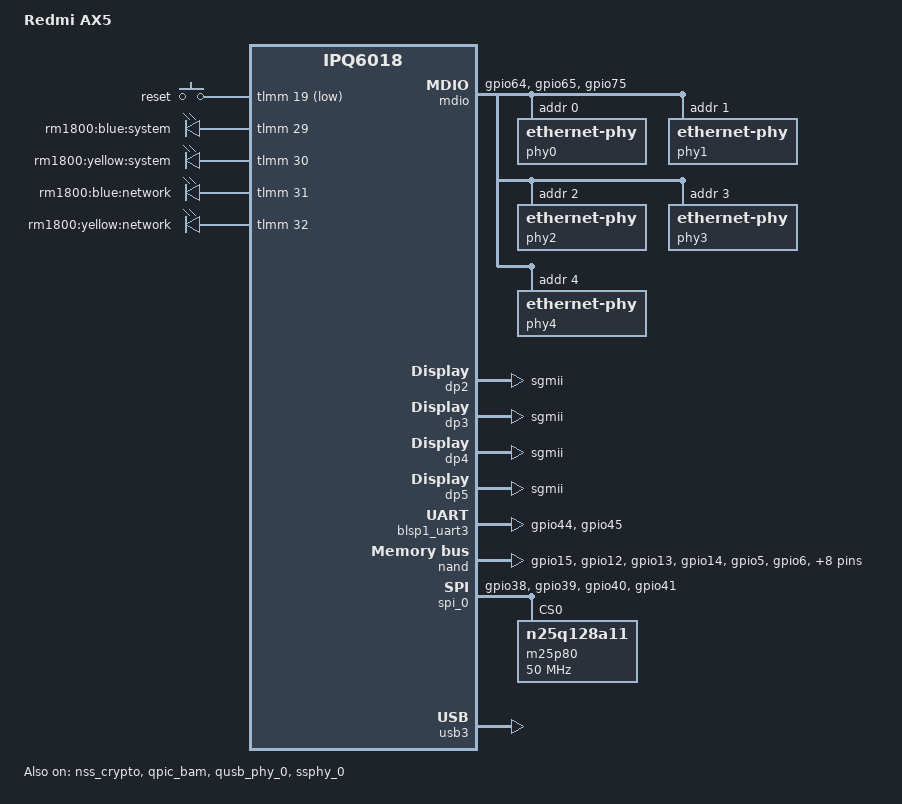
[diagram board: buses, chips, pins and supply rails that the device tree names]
// SPDX-License-Identifier: GPL-2.0-or-later OR MIT

/dts-v1/;

#include "qcom-ipq6018.dtsi"
#include "qcom-ipq6018-rpm-regulator.dtsi"
#include "qcom-ipq6018-cpr-regulator.dtsi"
#include "qcom-ipq6018-cp-cpu.dtsi"
#include <dt-bindings/input/input.h>
#include <dt-bindings/gpio/gpio.h>

/ {
	#address-cells = <0x2>;
	#size-cells = <0x2>;
	model = "Redmi AX5";
	compatible = "redmi,ax5", "qcom,ipq6018";
	interrupt-parent = <&intc>;
	qcom,msm-id = <0x192 0x0>;

	aliases {
		led-boot = &led_yellow;
		led-failsafe = &led_blue;
		led-running = &led_blue;
		led-upgrade = &led_yellow;
		serial0 = &blsp1_uart3;

		ethernet1 = "/soc/dp2";
		ethernet2 = "/soc/dp3";
		ethernet3 = "/soc/dp4";
		ethernet4 = "/soc/dp5";
	};

	chosen {
		bootargs-append = " root=/dev/ubiblock0_1 swiotlb=1 coherent_pool=2M";
	};

	soc {
		mdio: mdio@90000 {
			pinctrl-0 = <&mdio_pins>;
			pinctrl-names = "default";
			phy-reset-gpio = <&tlmm 75 0>;
			status = "ok";

			phy0: ethernet-phy@0 {
				reg = <0>;
			};
			phy1: ethernet-phy@1 {
				reg = <1>;
			};
			phy2: ethernet-phy@2 {
				reg = <2>;
			};
			phy3: ethernet-phy@3 {
				reg = <3>;
			};
			phy4: ethernet-phy@4 {
				reg = <4>;
			};
		};

		ess-switch@3a000000 {
			switch_cpu_bmp = <0x1>;  /* cpu port bitmap */
			switch_lan_bmp = <0x1e>; /* lan port bitmap */
			switch_wan_bmp = <0x20>; /* wan port bitmap */
			switch_inner_bmp = <0xc0>; /*inner port bitmap*/
			switch_mac_mode = <0x0>; /* mac mode for uniphy 0*/
			switch_mac_mode1 = <0xff>; /* mac mode for uniphy 1*/
			switch_mac_mode2 = <0xff>; /* mac mode for uniphy 2*/

			qcom,port_phyinfo {
				port@0 {
					port_id = <1>;
					phy_address = <0>;
				};
				port@1 {
					port_id = <2>;
					phy_address = <1>;
				};
				port@2 {
					port_id = <3>;
					phy_address = <2>;
				};
				port@3 {
					port_id = <4>;
					phy_address = <3>;
				};
				port@4 {
					port_id = <5>;
					phy_address = <4>;
				};
			};
		};

		dp2 {
			device_type = "network";
			compatible = "qcom,nss-dp";
			qcom,id = <2>;
			reg = <0x3a001200 0x200>;
			qcom,mactype = <0>;
			local-mac-address = [000000000000];
			qcom,link-poll = <1>;
			qcom,phy-mdio-addr = <1>;
			phy-mode = "sgmii";
		};

		dp3 {
			device_type = "network";
			compatible = "qcom,nss-dp";
			qcom,id = <3>;
			reg = <0x3a001400 0x200>;
			qcom,mactype = <0>;
			local-mac-address = [000000000000];
			qcom,link-poll = <1>;
			qcom,phy-mdio-addr = <2>;
			phy-mode = "sgmii";
		};

		dp4 {
			device_type = "network";
			compatible = "qcom,nss-dp";
			qcom,id = <4>;
			reg = <0x3a001600 0x200>;
			qcom,mactype = <0>;
			local-mac-address = [000000000000];
			qcom,link-poll = <1>;
			qcom,phy-mdio-addr = <3>;
			phy-mode = "sgmii";
		};

		dp5 {
			device_type = "network";
			compatible = "qcom,nss-dp";
			qcom,id = <5>;
			reg = <0x3a001800 0x200>;
			qcom,mactype = <0>;
			local-mac-address = [000000000000];
			qcom,link-poll = <1>;
			qcom,phy-mdio-addr = <4>;
			phy-mode = "sgmii";
		};
	};

	gpio_keys {
		compatible = "gpio-keys";
		pinctrl-0 = <&button_pins>;
		pinctrl-names = "default";

		reset {
			label = "reset";
			linux,code = <KEY_RESTART>;
			gpios = <&tlmm 19 GPIO_ACTIVE_LOW>;
			linux,input-type = <1>;
			debounce-interval = <60>;
		};
	};

	leds {
		compatible = "gpio-leds";
		pinctrl-0 = <&leds_pins>;
		pinctrl-names = "default";

		led_blue: system-blue {
			label = "rm1800:blue:system";
			gpios = <&tlmm 29 GPIO_ACTIVE_HIGH>;
		};

		led_yellow: system-yellow {
			label = "rm1800:yellow:system";
			gpios = <&tlmm 30 GPIO_ACTIVE_HIGH>;
		};

		network-blue {
			label = "rm1800:blue:network";
			gpios = <&tlmm 31 GPIO_ACTIVE_HIGH>;
		};

		network-yellow {
			label = "rm1800:yellow:network";
			gpios = <&tlmm 32 GPIO_ACTIVE_HIGH>;
		};
	};
};

&tlmm {
	button_pins: button_pins {
		reset_button {
			pins = "gpio19";
			function = "gpio";
			drive-strength = <8>;
			bias-pull-up;
		};
	};

	qpic_pins: qpic_pins {
		data_0 {
			pins = "gpio15";
			function = "qpic_pad0";
			drive-strength = <8>;
			bias-pull-down;
		};
		data_1 {
			pins = "gpio12";
			function = "qpic_pad1";
			drive-strength = <8>;
			bias-pull-down;
		};
		data_2 {
			pins = "gpio13";
			function = "qpic_pad2";
			drive-strength = <8>;
			bias-pull-down;
		};
		data_3 {
			pins = "gpio14";
			function = "qpic_pad3";
			drive-strength = <8>;
			bias-pull-down;
		};
		data_4 {
			pins = "gpio5";
			function = "qpic_pad4";
			drive-strength = <8>;
			bias-pull-down;
		};
		data_5 {
			pins = "gpio6";
			function = "qpic_pad5";
			drive-strength = <8>;
			bias-pull-down;
		};
		data_6 {
			pins = "gpio7";
			function = "qpic_pad6";
			drive-strength = <8>;
			bias-pull-down;
		};
		data_7 {
			pins = "gpio8";
			function = "qpic_pad7";
			drive-strength = <8>;
			bias-pull-down;
		};
		qpic_pad {
			pins = "gpio1", "gpio3", "gpio4",
			       "gpio10", "gpio11", "gpio17";
			function = "qpic_pad";
			drive-strength = <8>;
			bias-pull-down;
		};
	};

	spi_0_pins: spi_0_pins {
		mux {
			pins = "gpio38", "gpio39",
				"gpio40", "gpio41";
			function = "blsp0_spi";
			drive-strength = <8>;
			bias-pull-down;
		};
	};

	uart_pins: uart_pins {
		mux {
			pins = "gpio44", "gpio45";
			function = "blsp2_uart";
			drive-strength = <8>;
			bias-pull-down;
		};
	};

	mdio_pins: mdio_pinmux {
		mux_0 {
			pins = "gpio64";
			function = "mdc";
			drive-strength = <8>;
			bias-pull-up;
		};
		mux_1 {
			pins = "gpio65";
			function = "mdio";
			drive-strength = <8>;
			bias-pull-up;
		};
		mux_2 {
			pins = "gpio75";
			function = "gpio";
			bias-pull-up;
		};
	};

	leds_pins: leds_pins {
		mux {
			pins = "gpio29", "gpio30",
				"gpio31", "gpio32";
			function = "gpio";
			drive-strength = <8>;
			bias-pull-down;
		};
	};
};

&blsp1_uart3 {
	pinctrl-0 = <&uart_pins>;
	pinctrl-names = "default";
	status = "ok";
};

&nand {
	pinctrl-0 = <&qpic_pins>;
	pinctrl-names = "default";
	status = "ok";
};

&nss_crypto {
	status = "ok";
};

&qpic_bam {
	status = "ok";
};

&spi_0 {
	pinctrl-0 = <&spi_0_pins>;
	pinctrl-names = "default";
	cs-select = <0>;
	status = "ok";

	m25p80@0 {
		#address-cells = <1>;
		#size-cells = <1>;
		reg = <0>;
		compatible = "n25q128a11";
		spi-max-frequency = <50000000>;
		use-default-sizes;
	};
};

&qusb_phy_0 {
	status = "ok";
};

&ssphy_0 {
	status = "ok";
};

&usb3 {
	status = "ok";
};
